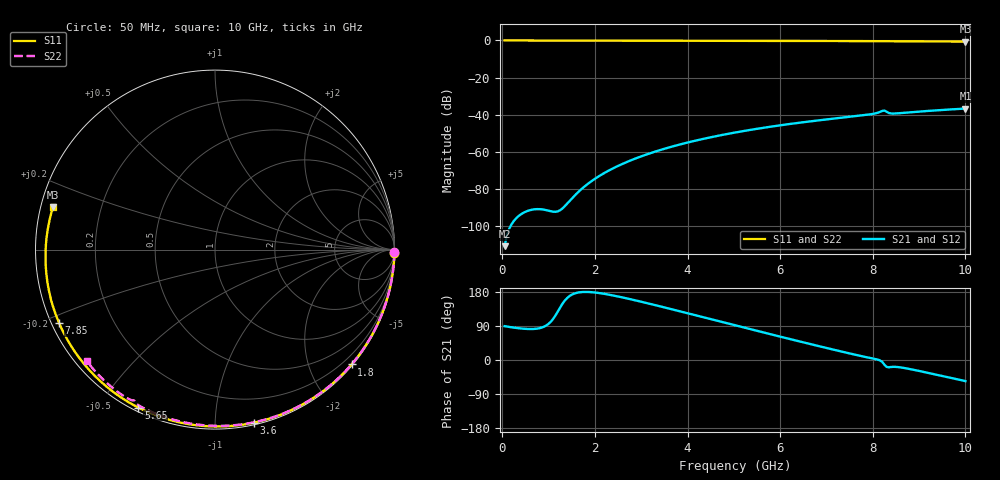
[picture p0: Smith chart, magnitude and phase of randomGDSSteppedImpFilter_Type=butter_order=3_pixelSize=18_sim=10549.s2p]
! freq	dB(S11)	phase(S11)	dB(S12)	phase(S12)
!  dB(S21)	phase(S21)	dB(S22)	phase(S22)
!S-par simulation data
#  GHz  S  DB  R 50
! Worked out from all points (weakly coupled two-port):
!   200 points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, 50 MHz to 10 GHz, reference 50 ohm
!   highest |S21| = -36.77 dB at 10 GHz (marker M1); lowest = -111.0 dB at 50 MHz (marker M2)
!   lowest |S11| = -0.6 dB at 10 GHz (marker M3), VSWR 28.91, Z = 1.76 + j6.41 ohm
!   |S11| at or under -10 dB: nowhere
!   |S22| runs from -0.5 to 0.0 dB; largest |S21 - S12| = 0
!   S11 on the Smith chart (normalised r, x): 50 MHz: open; 1.8 GHz: 0.02, -2.74; 3.6 GHz: 0.02, -1.25; 5.65 GHz: 0.02, -0.63; 7.85 GHz: 0.02, -0.22; 10 GHz: 0.04, +0.13
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0.05  -0.00 -1.1  -111.05 89.3  -111.05 89.3  -0.00 -0.8
0.85  -0.02 -19.2  -91.16 85.5  -91.16 85.5  -0.02 -13.6
1.7  -0.05 -37.9  -80.45 179.1  -80.45 179.1  -0.03 -27.0
1.75  -0.05 -39.0  -79.37 179.5  -79.37 179.5  -0.04 -27.8
1.8  -0.05 -40.1  -78.34 179.7  -78.34 179.7  -0.04 -28.5
2.1  -0.06 -46.5  -73.09 176.5  -73.09 176.5  -0.04 -33.2
2.45  -0.07 -53.9  -68.32 168.9  -68.32 168.9  -0.05 -38.6
2.9  -0.08 -63.3  -63.49 156.6  -63.49 156.6  -0.06 -45.4
3.4  -0.10 -73.4  -59.23 141.8  -59.23 141.8  -0.07 -52.8
3.6  -0.10 -77.4  -57.75 135.8  -57.75 135.8  -0.08 -55.7
4.3  -0.13 -90.9  -53.35 114.1  -53.35 114.1  -0.09 -65.8
5.05  -0.16 -105.0  -49.59 90.8  -49.59 90.8  -0.12 -76.3
5.65  -0.19 -115.9  -47.10 72.3  -47.10 72.3  -0.14 -84.5
6.7  -0.26 -134.5  -43.52 40.6  -43.52 40.6  -0.19 -98.3
7.3  -0.31 -145.1  -41.80 23.0  -41.80 23.0  -0.23 -106.0
7.85  -0.35 -154.7  -40.23 7.8  -40.23 7.8  -0.27 -113.0
8.05  -0.37 -158.3  -39.41 2.7  -39.41 2.7  -0.29 -115.6
8.25  -0.39 -161.8  -37.82 -12.0  -37.82 -12.0  -0.41 -118.1
8.35  -0.40 -163.7  -39.18 -19.1  -39.18 -19.1  -0.37 -118.7
8.5  -0.42 -166.4  -39.41 -18.2  -39.41 -18.2  -0.34 -120.7
9.2  -0.50 -179.2  -38.03 -34.2  -38.03 -34.2  -0.39 -129.4
10  -0.60 165.4  -36.77 -55.6  -36.77 -55.6  -0.48 -139.1
